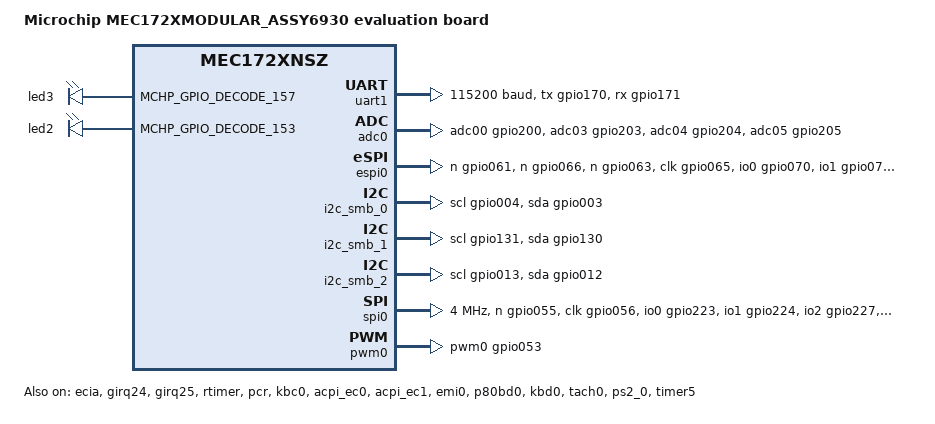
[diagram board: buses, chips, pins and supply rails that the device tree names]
/*
 * Copyright (c) 2022, Microchip Technology Inc.
 *
 * SPDX-License-Identifier: Apache-2.0
 */

/dts-v1/;

#include <microchip/mec172xnsz.dtsi>
#include <microchip/mec172x/mec172xnsz-pinctrl.dtsi>

/ {
	model = "Microchip MEC172XMODULAR_ASSY6930 evaluation board";
	compatible = "microchip,mec172xmodular_assy6930", "microchip,mec172xnsz";

	chosen {
		zephyr,sram = &sram0;
		zephyr,flash = &flash0;
		zephyr,console = &uart1;
	};

	aliases {
		led1 = &led3;
		led2 = &led2;
		i2c0 = &i2c_smb_0;
		i2c1 = &i2c_smb_1;
		i2c7 = &i2c_smb_2;
		pwm-0 = &pwm0;
	};

	leds {
		compatible = "gpio-leds";
		led3: led_1 {
			/* GPIO157/LED1 on schematic,
			 * LED3 on silkscreen.
			 */
			gpios = <MCHP_GPIO_DECODE_157 GPIO_ACTIVE_HIGH>;
		};
		led2: led_2{
			/* GPIO153/LED2 on schematic,
			 * LED2 on silkscreen.
			 */
			gpios = <MCHP_GPIO_DECODE_153 GPIO_ACTIVE_HIGH>;
		};
	};
};

&cpu0 {
	clock-frequency = <96000000>;
	status = "okay";
};

/* Initialize ECIA. Does not initialize child devices */
&ecia {
	status = "okay";
};

/* Enable aggregated GIRQ24 and GIRQ25 for eSPI virtual wires interrupts */
&girq24 {
	status = "okay";
};

&girq25 {
	status = "okay";
};

&rtimer {
	status = "okay";
};

&pcr {
	status = "okay";
};

&uart1 {
	status = "okay";
	current-speed = <115200>;
	pinctrl-0 = <&uart1_tx_gpio170 &uart1_rx_gpio171>;
	pinctrl-names = "default";
};

&adc0 {
	status = "okay";
	pinctrl-0 = <&adc00_gpio200 &adc03_gpio203
		     &adc04_gpio204 &adc05_gpio205>;
	pinctrl-names = "default";
};

&espi0 {
	status = "okay";
	pinctrl-0 = < &espi_reset_n_gpio061 &espi_cs_n_gpio066
		      &espi_alert_n_gpio063 &espi_clk_gpio065
		      &espi_io0_gpio070 &espi_io1_gpio071
		      &espi_io2_gpio072 &espi_io3_gpio073 >;
	pinctrl-names = "default";
};

/* enable various eSPI child devices (host facing) */
&kbc0 {
	status = "okay";
};

&acpi_ec0 {
	status = "okay";
};

&acpi_ec1 {
	status = "okay";
};

&emi0 {
	status = "okay";
};

&p80bd0 {
	status = "okay";
};

/* I2C */
&i2c_smb_0 {
	status = "okay";
	port-sel = <0>;

	pinctrl-0 = < &i2c00_scl_gpio004 &i2c00_sda_gpio003 >;
	pinctrl-names = "default";
};

&i2c00_scl_gpio004 {
	drive-open-drain;
	output-enable;
	output-high;
};

&i2c00_sda_gpio003 {
	drive-open-drain;
	output-enable;
	output-high;
};

&i2c_smb_1 {
	status = "okay";
	port-sel = <1>;
	pinctrl-0 = <&i2c01_scl_gpio131 &i2c01_sda_gpio130>;
	pinctrl-names = "default";
};

&i2c01_scl_gpio131 {
	drive-open-drain;
	output-enable;
	output-high;
};

&i2c01_sda_gpio130 {
	drive-open-drain;
	output-enable;
	output-high;
};

&i2c_smb_2 {
	status = "okay";
	port-sel = <7>;
	pinctrl-0 = <&i2c07_scl_gpio013 &i2c07_sda_gpio012>;
	pinctrl-names = "default";
};

&i2c07_scl_gpio013 {
	drive-open-drain;
	output-enable;
	output-high;
};

&i2c07_sda_gpio012 {
	drive-open-drain;
	output-enable;
	output-high;
};

&spi0 {
	status = "okay";
	compatible = "microchip,xec-qmspi-ldma";
	clock-frequency = <4000000>;
	lines = <4>;
	chip-select = <0>;

	pinctrl-0 = < &shd_cs0_n_gpio055
		      &shd_clk_gpio056
		      &shd_io0_gpio223
		      &shd_io1_gpio224
		      &shd_io2_gpio227
		      &shd_io3_gpio016 >;
	pinctrl-names = "default";
};

&kbd0 {
	status = "okay";

	pinctrl-0 = < &ksi0_gpio017 &ksi1_gpio020 &ksi2_gpio021 &ksi3_gpio026
		      &ksi4_gpio027 &ksi5_gpio030 &ksi6_gpio031 &ksi7_gpio032
		      &kso00_gpio040 &kso01_gpio045 &kso02_gpio046 &kso03_gpio047
		      &kso04_gpio107 &kso05_gpio112 &kso06_gpio113 &kso07_gpio120
		      &kso08_gpio121 &kso09_gpio122 &kso10_gpio123 &kso11_gpio124
		      &kso12_gpio125 &kso13_gpio126 >;
	pinctrl-1 = < &ksi0_gpio017_sleep &ksi1_gpio020_sleep &ksi2_gpio021_sleep
		      &ksi3_gpio026_sleep &ksi4_gpio027_sleep &ksi5_gpio030_sleep
		      &ksi6_gpio031_sleep &ksi7_gpio032_sleep &kso00_gpio040_sleep
		      &kso01_gpio045_sleep &kso02_gpio046_sleep &kso03_gpio047_sleep
		      &kso04_gpio107_sleep &kso05_gpio112_sleep &kso06_gpio113_sleep
		      &kso07_gpio120_sleep &kso08_gpio121_sleep &kso09_gpio122_sleep
		      &kso10_gpio123_sleep &kso11_gpio124_sleep &kso12_gpio125_sleep
		      &kso13_gpio126_sleep >;
	pinctrl-names = "default", "sleep";
	row-size = <8>;
	col-size = <16>;
};

&ksi0_gpio017 {
	bias-pull-up;
};

&ksi1_gpio020 {
	bias-pull-up;
};

&ksi2_gpio021 {
	bias-pull-up;
};

&ksi3_gpio026 {
	bias-pull-up;
};

&ksi4_gpio027 {
	bias-pull-up;
};

&ksi5_gpio030 {
	bias-pull-up;
};

&ksi6_gpio031 {
	bias-pull-up;
};

&ksi7_gpio032 {
	bias-pull-up;
};

&pwm0 {
	status = "okay";
	pinctrl-0 = <&pwm0_gpio053>;
	pinctrl-names = "default";
};

&tach0 {
	status = "okay";
	pinctrl-0 = <&tach0_gpio050>;
	pinctrl-names = "default";
};

&ps2_0 {
	status = "okay";
	pinctrl-0 = <&ps2_clk0a_gpio114 &ps2_dat0a_gpio115>;
	pinctrl-names = "default";
};

&timer5 {
	status = "okay";
};
